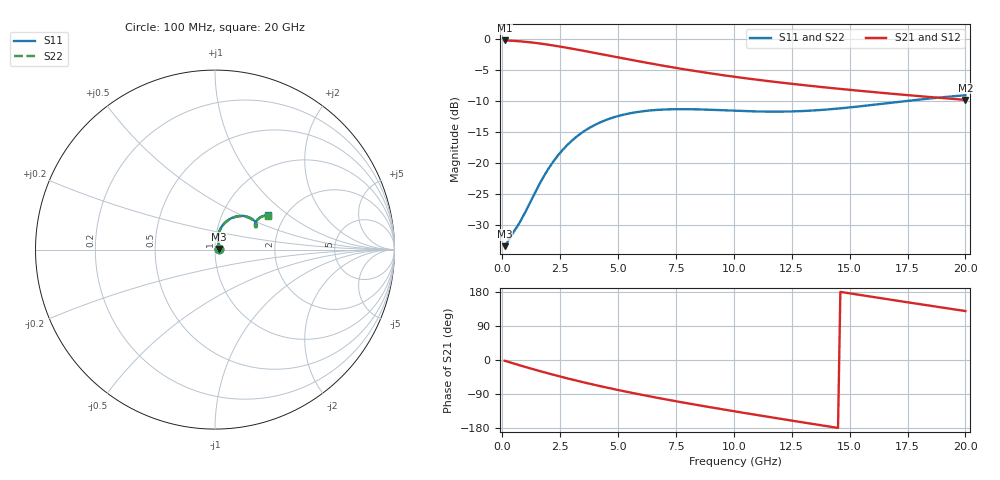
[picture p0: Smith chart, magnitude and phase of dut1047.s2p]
! Touchstone file exported from HFSS 2024.1.0
!  File:  C:/UserFiles/LocalFiles/RDL_TSV_Batchsim/temp_RDL_TSV_1047_1780087343.aedt
!  Generated:  04:56:14 AM May 30, 2026
!  Design:  RDL_TSV
!  Project:  temp_RDL_TSV_1047_1780087343
!  Setup:  Setup1
!  Solution:  Sweep
! Variables:
!  dtsv = 9.64um
!  hbump = 3um
!  htsv = 76.18um
!  ldown = 432.2um
!  lrdl = 513.31um
!  p = 40
!  p1 = 40.77um
!  rhole = 10um
!  subl = 3349.84um
!  t = 450um
!  tdown = 4.69um
!  trdl = 3.08um
!  viad = 10um
!  wdown = 16.57um
!  wrdl = 16.13um
!  xbump = 18um
# GHz S MA R 50.000000
! Terminal data exported
! Port[1] = TM1_1_T1
! Port[2] = TM1_4_T1
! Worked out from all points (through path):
!   200 points, 100 MHz to 20 GHz, reference 50 ohm
!   highest |S21| = -0.19 dB at 100 MHz (marker M1); lowest = -9.8 dB at 20 GHz (marker M2)
!   group delay of S21, straight-line fit = 30.5 ps
!   lowest |S11| = -33.4 dB at 100 MHz (marker M3), VSWR 1.04, Z = 52.1 + j0.416 ohm
!   |S11| at or under -10 dB: start of sweep to 17.37 GHz
!   |S22| runs from -33.4 to -9.1 dB; largest |S21 - S12| = 2e-14
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0.1  0.02134 10.8  0.9787 -1.9  0.9787 -1.9  0.02134 10.8
! Gamma 0 0 0 0
! Port Impedance 50 0 50 0
0.5  0.02792 38.8  0.9711 -9.4  0.9711 -9.4  0.02794 38.7
0.9  0.03724 58.3  0.9585 -16.6  0.9585 -16.6  0.03726 58.1
1.4  0.05717 72.8  0.9366 -25.5  0.9366 -25.5  0.05709 72.5
1.8  0.07865 76.8  0.9153 -32.3  0.9153 -32.3  0.07841 76.4
2.2  0.1027 76.7  0.8917 -38.9  0.8917 -38.9  0.1023 76.4
2.6  0.1275 74.5  0.8666 -45.2  0.8666 -45.2  0.1269 74.2
3  0.1516 71.1  0.8408 -51.4  0.8408 -51.4  0.1508 70.8
3.5  0.1794 66.2  0.8083 -58.7  0.8083 -58.7  0.1783 65.9
4.2  0.2121 59.2  0.7633 -68.6  0.7633 -68.6  0.2107 58.9
4.9  0.237 52.5  0.7203 -77.9  0.7203 -77.9  0.2353 52.2
5.8  0.2581 45.1  0.6692 -89.2  0.6692 -89.2  0.256 44.8
6.8  0.2698 38.4  0.6187 -101.0  0.6187 -101.0  0.2674 38.2
7.6  0.2727 34.4  0.5832 -109.9  0.5832 -109.9  0.2701 34.2
8.4  0.2718 31.5  0.5516 -118.6  0.5516 -118.6  0.2691 31.3
10.1  0.2646 28.7  0.496 -136.2  0.496 -136.2  0.2616 28.5
11.7  0.2604 29.5  0.4546 -152.1  0.4546 -152.1  0.2573 29.4
13.4  0.2659 32.2  0.4189 -168.7  0.4189 -168.7  0.263 32.2
15  0.2817 34.5  0.3907 175.9  0.3907 175.9  0.2789 34.6
16.7  0.3058 35.5  0.365 159.8  0.365 159.8  0.3032 35.5
18.4  0.3317 34.6  0.3426 143.9  0.3426 143.9  0.3292 34.7
20  0.3533 32.7  0.3242 129.2  0.3242 129.2  0.3508 32.7
